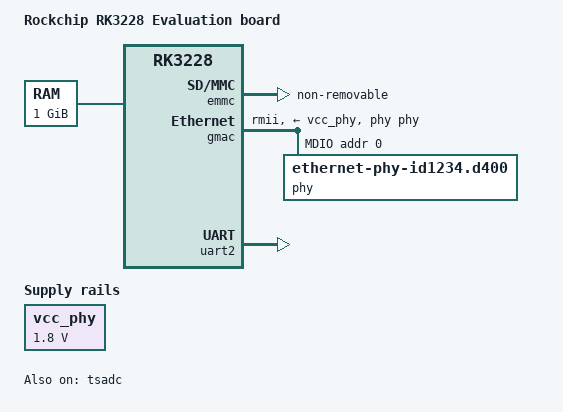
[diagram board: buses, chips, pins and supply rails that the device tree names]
// SPDX-License-Identifier: (GPL-2.0+ OR MIT)

/dts-v1/;

#include "rk322x.dtsi"

/ {
	model = "Rockchip RK3228 Evaluation board";
	compatible = "rockchip,rk3228-evb", "rockchip,rk3228";

	memory@60000000 {
		device_type = "memory";
		reg = <0x60000000 0x40000000>;
	};

	vcc_phy: vcc-phy-regulator {
		compatible = "regulator-fixed";
		enable-active-high;
		regulator-name = "vcc_phy";
		regulator-min-microvolt = <1800000>;
		regulator-max-microvolt = <1800000>;
		regulator-always-on;
		regulator-boot-on;
	};
};

&emmc {
	cap-mmc-highspeed;
	mmc-ddr-1_8v;
	disable-wp;
	non-removable;
	status = "okay";
};

&gmac {
	assigned-clocks = <&cru SCLK_MAC_SRC>;
	assigned-clock-rates = <50000000>;
	clock_in_out = "output";
	phy-supply = <&vcc_phy>;
	phy-mode = "rmii";
	phy-handle = <&phy>;
	status = "okay";

	mdio {
		compatible = "snps,dwmac-mdio";
		#address-cells = <1>;
		#size-cells = <0>;

		phy: ethernet-phy@0 {
			compatible = "ethernet-phy-id1234.d400", "ethernet-phy-ieee802.3-c22";
			reg = <0>;
			clocks = <&cru SCLK_MAC_PHY>;
			resets = <&cru SRST_MACPHY>;
			phy-is-integrated;
		};
	};
};

&tsadc {
	status = "okay";

	rockchip,hw-tshut-mode = <0>; /* tshut mode 0:CRU 1:GPIO */
	rockchip,hw-tshut-polarity = <1>; /* tshut polarity 0:LOW 1:HIGH */
};

&uart2 {
	status = "okay";
};
